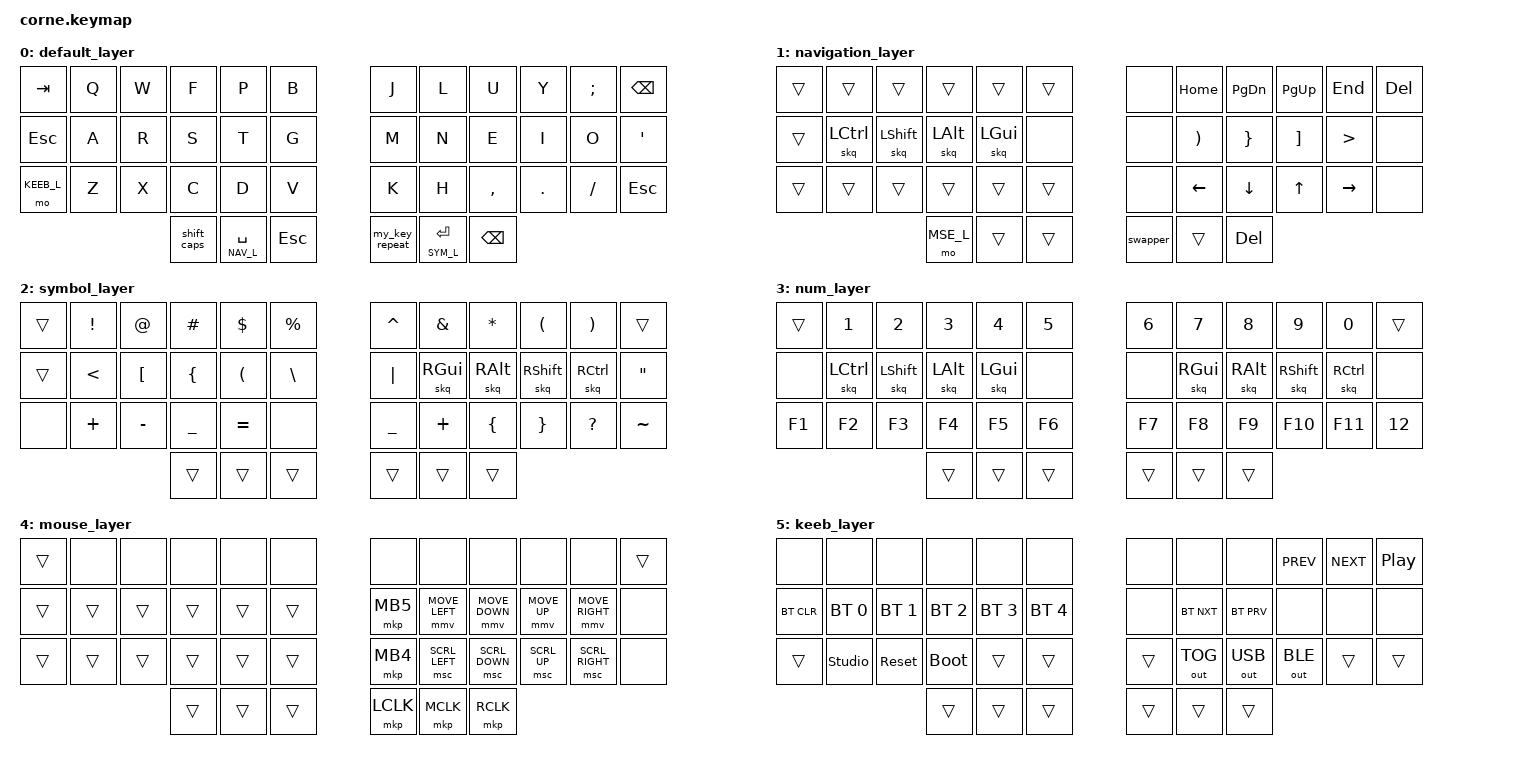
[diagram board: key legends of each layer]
#include <behaviors.dtsi>
#include <dt-bindings/zmk/keys.h>
#include <dt-bindings/zmk/bt.h>
#include <dt-bindings/zmk/outputs.h>

#define ZMK_POINTING_DEFAULT_MOVE_VAL 600
#define ZMK_POINTING_DEFAULT_SCRL_VAL 10
#include <dt-bindings/zmk/pointing.h>


/* Layers */
#define DEF_L 0
#define NAV_L 1
#define SYM_L 2
#define NUM_L 3
#define MSE_L 4
#define KEEB_L 5

/* &sl { // Allow sticky mods to chord across sticky layers. */
/*   quick-release; */
/*   ignore-modifiers; */
/* }; */


/ {

        behaviors {
          skq: sticky_key_quick_release {
            compatible = "zmk,behavior-sticky-key";
            #binding-cells = <1>;
            bindings = <&kp>;
            release-after-ms = <2000>;
            quick-release;
            ignore-modifiers;
          };
          mac_swapper: mac_swapper {
            compatible = "zmk,behavior-smart-toggle";
            #binding-cells = <0>;
            bindings = <&kp LGUI>, <&kp TAB>;
          };
          swapper: swapper {
            compatible = "zmk,behavior-smart-toggle";
            #binding-cells = <0>;
            bindings = <&kp LALT>, <&kp TAB>;
          };
          lt {
            tapping-term-ms = <300>;
            flavor = "tap-unless-interrupted";
          };
          shift_caps: tap_dance_0 {
            compatible = "zmk,behavior-tap-dance";
            #binding-cells = <0>;
            tapping-term-ms = <200>;
            bindings = <&kp LSHFT>, <&kp CAPS>;
          };
          my_key_repeat: my_key_repeat {
            compatible = "zmk,behavior-key-repeat";
            #binding-cells = <0>;
            usage-pages = <HID_USAGE_KEY HID_USAGE_CONSUMER>;
          };
          lt_repeat: lt_repeat {
            compatible = "zmk,behavior-hold-tap";
            #binding-cells = <2>;
            bindings = <&mo>, <&my_key_repeat>;
            tapping-term-ms = <300>;
          };
        };

        conditional_layers {
            compatible = "zmk,conditional-layers";
            tri_layer {
                if-layers = <NAV_L SYM_L>;
                then-layer = <NUM_L>;
            };
        };

        keymap {
                compatible = "zmk,keymap";

                default_layer {
                        bindings = <
   &kp TAB &kp Q &kp W &kp F &kp P &kp B          &kp J &kp L  &kp U     &kp Y   &kp SEMI &kp BSPC
   &kp ESC   &kp A &kp R &kp S &kp T &kp G        &kp M &kp N  &kp E     &kp I   &kp O    &kp SQT
   &mo KEEB_L &kp Z &kp X &kp C &kp D &kp V       &kp K &kp H  &kp COMMA &kp DOT &kp FSLH &kp ESC
      &shift_caps &lt NAV_L SPACE &kp ESC        &my_key_repeat   &lt SYM_L RET &kp BSPC
                        >;
                };
                navigation_layer {
                        bindings = <
   &trans &trans &trans &trans &trans &trans                     &none &kp HOME   &kp PG_DN   &kp PG_UP &kp END &kp DEL
   &trans &skq LCTRL &skq LSHFT  &skq LALT &skq LGUI &none        &none &kp RPAR &kp RBRC  &kp RBKT &kp GT &none
   &trans &trans &trans &trans &trans &trans                      &none &kp LEFT &kp DOWN &kp UP &kp RIGHT &none
                                &mo MSE_L &trans  &trans      &swapper &trans &kp DEL
                        >;
                };
                symbol_layer {
                        bindings = <
   &trans  &kp EXCL &kp AT &kp HASH &kp DLLR &kp PRCNT   &kp CARET &kp AMPS  &kp ASTRK &kp LPAR &kp RPAR &trans
   &trans &kp LT &kp LBKT &kp LBRC  &kp LPAR &kp BSLH   &kp PIPE &skq RGUI &skq RALT  &skq RSHFT &skq RCTRL &kp DQT
   &none   &kp PLUS &kp MINUS &kp UNDER  &kp EQUAL &none  &kp UNDER &kp PLUS  &kp LBRC  &kp RBRC &kp QMARK &kp TILDE
                                     &trans &trans  &trans  &trans &trans &trans
                        >;
                };
                num_layer {
                        bindings = <
   &trans  &kp N1  &kp N2  &kp N3  &kp N4  &kp N5          &kp N6  &kp N7  &kp N8  &kp N9  &kp N0  &trans
   &none &skq LCTRL &skq LSHFT  &skq LALT &skq LGUI &none      &none &skq RGUI &skq RALT  &skq RSHFT &skq RCTRL &none
   &kp F1 &kp F2 &kp F3 &kp F4 &kp F5 &kp F6               &kp F7 &kp F8 &kp F9 &kp F10 &kp F11 &kp 12
                                     &trans &trans  &trans  &trans &trans &trans
                        >;
                };
                mouse_layer {
                        bindings = <
   &trans &none &none &none &none &none                         &none &none &none &none &none &trans
   &trans &trans   &trans &trans   &trans   &trans      &mkp MB5 &mmv MOVE_LEFT &mmv MOVE_DOWN  &mmv MOVE_UP &mmv MOVE_RIGHT &none
   &trans &trans   &trans &trans   &trans   &trans      &mkp MB4 &msc SCRL_LEFT &msc SCRL_DOWN  &msc SCRL_UP &msc SCRL_RIGHT &none
                          &trans &trans  &trans             &mkp LCLK &mkp MCLK &mkp RCLK
                        >;
                };
                keeb_layer {
                        bindings = <
   &none &none &none &none &none &none                                           &none &none &none &kp C_PREV &kp C_NEXT &kp C_PLAY_PAUSE
   &bt BT_CLR &bt BT_SEL 0 &bt BT_SEL 1 &bt BT_SEL 2 &bt BT_SEL 3 &bt BT_SEL 4   &none &bt BT_NXT &bt BT_PRV &none &none &none
   &trans &studio_unlock  &sys_reset  &bootloader  &trans  &trans                &trans  &out OUT_TOG  &out OUT_USB  &out OUT_BLE  &trans  &trans
                                     &trans &trans  &trans                       &trans &trans &trans
                        >;
                };
        };
};
